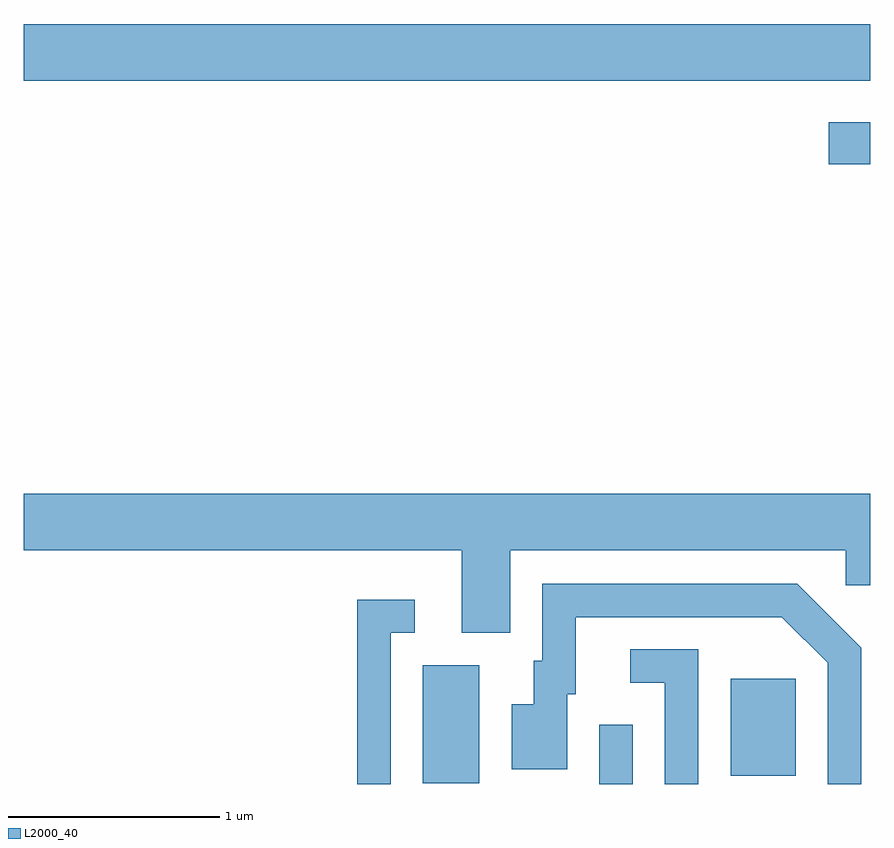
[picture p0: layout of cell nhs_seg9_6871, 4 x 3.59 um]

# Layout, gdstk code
import gdstk
lib = gdstk.Library(unit=1e-6, precision=1e-09)
def R(c, l, rs):  # rectangles x0, y0, x1, y1
    for r in rs: c.add(gdstk.rectangle(r[:2], r[2:], *l))
def P(c, l, *ps):  # polygons
    for p in ps: c.add(gdstk.Polygon(p, *l))
L2000_40 = (2000, 40)

nhs_seg9_6871 = lib.new_cell('nhs_seg9_6871')
R(nhs_seg9_6871, L2000_40, [(390.331,2048.432,390.489,2048.713), (389.496,2048.436,389.764,2048.994), (390.951,2048.471,391.259,2048.929), (391.416,2051.361,391.611,2051.559), (387.611,2051.756,391.611,2052.024)])
P(nhs_seg9_6871, L2000_40, [(389.909,2049.536),(391.496,2049.536),(391.496,2049.371),(391.611,2049.371),(391.611,2049.804),(387.611,2049.804),(387.611,2049.536),(389.681,2049.536),(389.681,2049.146),(389.909,2049.146)],
  [(391.569,2049.077),(391.267,2049.379),(390.061,2049.379),(390.061,2049.014),(390.021,2049.014),(390.021,2048.809),(389.916,2048.809),(389.916,2048.501),(390.179,2048.501),(390.179,2048.856),(390.219,2048.856),(390.219,2049.221),(391.194,2049.221),(391.411,2049.004),(391.411,2048.432),(391.569,2048.432)],
  [(389.344,2049.146),(389.458,2049.146),(389.458,2049.304),(389.186,2049.304),(389.186,2048.432),(389.344,2048.432)],
  [(390.799,2049.069),(390.478,2049.069),(390.478,2048.911),(390.641,2048.911),(390.641,2048.432),(390.799,2048.432)])

lib.write_gds('nhs_seg9_6871.gds')
